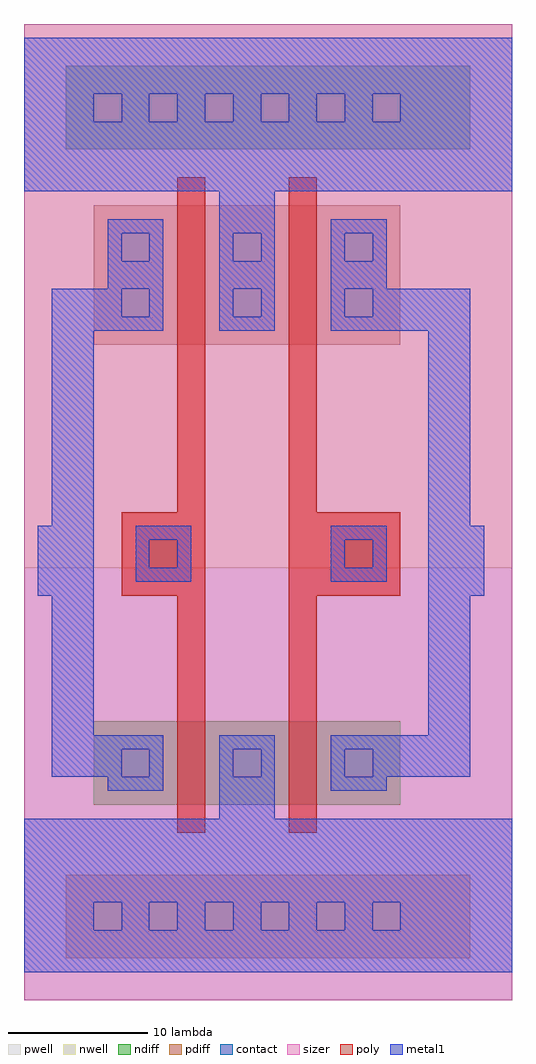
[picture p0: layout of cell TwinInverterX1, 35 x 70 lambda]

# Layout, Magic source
magic
tech LibreSilicon-test000-concept-mg-70-7
<< sizer >>
rect 0 0 35 70
<< metal1 >>
rect 0 65 35 69
rect 0 63 5 65
rect 7 63 9 65
rect 11 63 13 65
rect 15 63 17 65
rect 19 63 21 65
rect 23 63 25 65
rect 27 63 35 65
rect 0 58 35 63
rect 14 55 18 58
rect 6 55 10 56
rect 22 55 26 56
rect 6 53 7 55
rect 9 53 10 55
rect 14 53 15 55
rect 17 53 18 55
rect 22 53 23 55
rect 25 53 26 55
rect 6 51 10 53
rect 14 51 18 53
rect 22 51 26 53
rect 2 49 7 51
rect 9 49 10 51
rect 14 49 15 51
rect 17 49 18 51
rect 22 49 23 51
rect 25 49 32 51
rect 2 48 10 49
rect 14 48 18 49
rect 22 48 32 49
rect 2 34 5 48
rect 29 34 32 48
rect 1 29 5 34
rect 8 33 12 34
rect 22 33 26 34
rect 29 29 33 34
rect 8 31 9 33
rect 11 31 12 33
rect 22 31 23 33
rect 25 31 26 33
rect 8 30 12 31
rect 22 30 26 31
rect 2 19 5 29
rect 29 19 32 29
rect 2 18 10 19
rect 14 18 18 19
rect 22 18 32 19
rect 2 16 7 18
rect 9 16 10 18
rect 14 16 15 18
rect 17 16 18 18
rect 22 16 23 18
rect 25 16 32 18
rect 6 15 10 16
rect 14 13 18 16
rect 22 15 26 16
rect 0 7 35 13
rect 0 5 5 7
rect 7 5 9 7
rect 11 5 13 7
rect 15 5 17 7
rect 19 5 21 7
rect 23 5 25 7
rect 27 5 35 7
rect 0 2 35 5
<< contact >>
rect 5 63 7 65
rect 9 63 11 65
rect 13 63 15 65
rect 17 63 19 65
rect 21 63 23 65
rect 25 63 27 65
rect 7 53 9 55
rect 15 53 17 55
rect 23 53 25 55
rect 7 49 9 51
rect 15 49 17 51
rect 23 49 25 51
rect 9 31 11 33
rect 23 31 25 33
rect 7 16 9 18
rect 15 16 17 18
rect 23 16 25 18
rect 5 5 7 7
rect 9 5 11 7
rect 13 5 15 7
rect 17 5 19 7
rect 21 5 23 7
rect 25 5 27 7
<< poly >>
rect 11 35 13 59
rect 19 35 21 59
rect 7 29 13 35
rect 19 29 27 35
rect 11 12 13 29
rect 19 12 21 29
<< ndiff >>
rect 3 61 32 67
rect 5 14 27 20
<< pdiff >>
rect 5 47 27 57
rect 3 3 32 9
<< nwell >>
rect 0 31 35 70
<< pwell >>
rect 0 0 35 31
<< end >>
